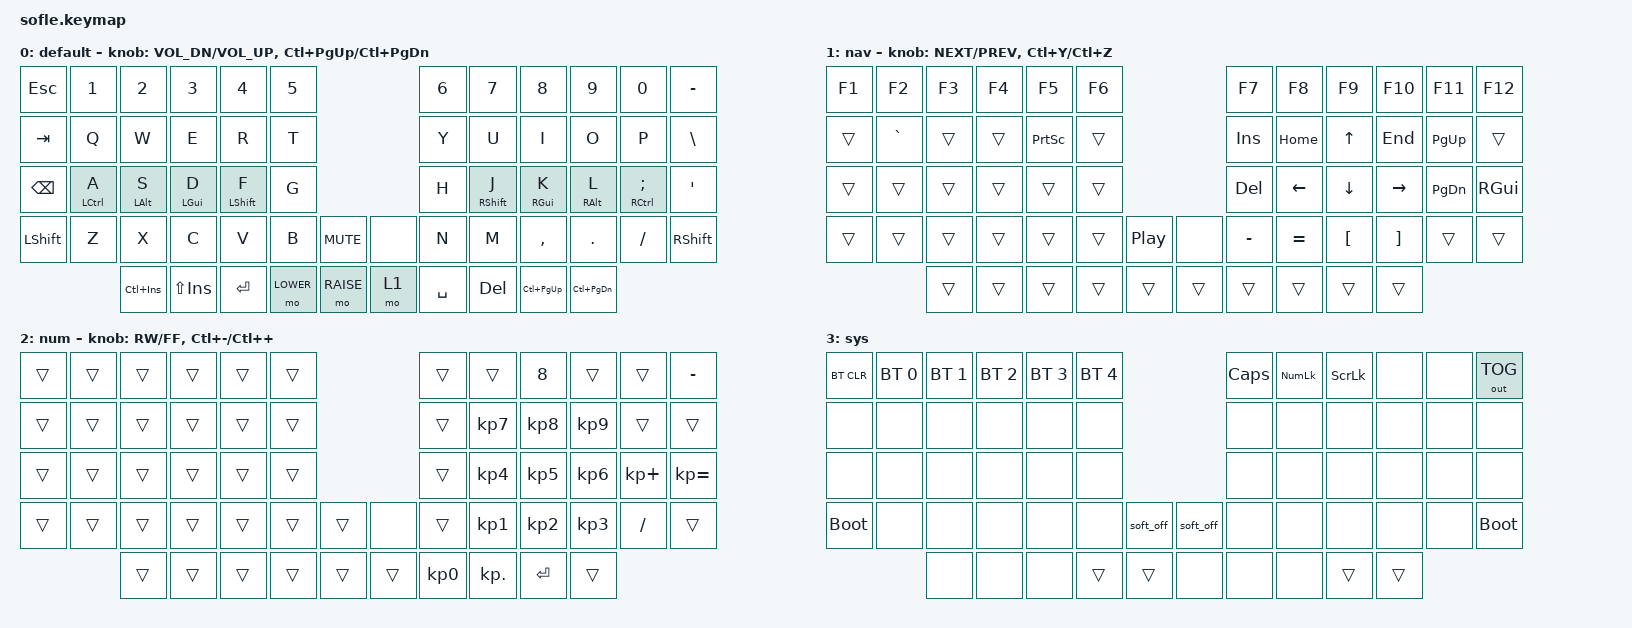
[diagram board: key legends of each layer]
/*
 * Copyright (c) 2020 The ZMK Contributors
 *
 * SPDX-License-Identifier: MIT
 */

#include <behaviors.dtsi>
#include <dt-bindings/zmk/bt.h>
#include <dt-bindings/zmk/keys.h>
#include <dt-bindings/zmk/outputs.h>

#define BASE 0
#define LOWER 1
#define RAISE 2
#define ADJUST 3

/ {
    behaviors {
        bmt: balanced_mod_tap {
            compatible = "zmk,behavior-hold-tap";
            label = "BALANCED_MOD_TAP";
            #binding-cells = <2>;
            flavor = "balanced";
            tapping-term-ms = <200>;
            quick-tap-ms = <200>;
            require-prior-idle-ms = <125>;
            bindings = <&kp>, <&kp>;
        };
    };

    // Activate ADJUST layer by pressing raise and lower

    conditional_layers {
        compatible = "zmk,conditional-layers";

        adjust_layer {
            if-layers = <LOWER RAISE>;
            then-layer = <ADJUST>;
        };
    };

    keymap {
        compatible = "zmk,keymap";

        default_layer {
            display-name = "default";

            // ------------------------------------------------------------------------------------------------------------
            // |  ESC  |  1  |  2  |  3   |  4   |  5   |                   |  6   |  7    |  8    |  9   |   0   |   -   |
            // |  TAB  |  Q  |  W  |  E   |  R   |  T   |                   |  Y   |  U    |  I    |  O   |   P   |   \   |
            // | BKSPC |  A  |  S  |  D   |  F   |  G   |                   |  H   |  J    |  K    |  L   |   ;   |   '   |
            // | SHIFT |  Z  |  X  |  C   |  V   |  B   |  MUTE  |  | LC(T) |  N   |  M    |  ,    |  .   |   /   | SHIFT |
            //               | GUI | ALT  | CTRL | LOWER|  RAISE |  | DEL   | SPACE| RET   | ALT   | GUI  |

            bindings = <
&kp ESC    &kp N1        &kp N2       &kp N3       &kp N4        &kp N5                          &kp N6     &kp N7        &kp N8         &kp N9         &kp N0           &kp MINUS
&kp TAB    &kp Q         &kp W        &kp E        &kp R         &kp T                           &kp Y      &kp U         &kp I          &kp O          &kp P            &kp BSLH
&kp BSPC   &bmt LCTRL A  &bmt LALT S  &bmt LGUI D  &bmt LSHFT F  &kp G                           &kp H      &bmt RSHFT J  &bmt RGUI K    &bmt RALT L    &bmt RCTRL SEMI  &kp SQT
&kp LSHFT  &kp Z         &kp X        &kp C        &kp V         &kp B      &kp C_MUTE    &none  &kp N      &kp M         &kp COMMA      &kp DOT        &kp FSLH         &kp RSHFT
                         &kp LC(INS)  &kp LS(INS)  &kp ENTER     &mo LOWER  &mo RAISE     &mo 1  &kp SPACE  &kp DEL       &kp LC(PG_UP)  &kp LC(PG_DN)
            >;

            sensor-bindings = <&inc_dec_kp C_VOL_DN C_VOL_UP &inc_dec_kp LC(PG_UP) LC(PG_DN) >;
        };

        lower_layer {
            display-name = "nav";

            // TODO: Some binds are waiting for shifted keycode support.
            // ------------------------------------------------------------------------------------------------------------
            // |  F1 |  F2 |  F3  |  F4  |  F5   |  F6  |                   |  F7   |  F8   |  F9  |  F10  |  F11  |  F12  |
            // |     |  `  |      |      | PSCRN |      |                   |  INS  |  HOME |  ^   |  END  |  PGUP |       |
            // |     |     |      |      |       |      |                   |  DEL  |   <-  |  v   | ->    |  PGDN |  RGUI |
            // |     |     |      |      |       |      |  play  |  |       |       |   =   |  [   |  ]    |       |       |
            //             |      |      |       |      |        |  |       |       |       |      |       |

            bindings = <
&kp F1  &kp F2     &kp F3  &kp F4  &kp F5     &kp F6                              &kp F7     &kp F8     &kp F9    &kp F10    &kp F11    &kp F12
&trans  &kp GRAVE  &trans  &trans  &kp PSCRN  &trans                              &kp INS    &kp HOME   &kp UP    &kp END    &kp PG_UP  &trans
&trans  &trans     &trans  &trans  &trans     &trans                              &kp DEL    &kp LEFT   &kp DOWN  &kp RIGHT  &kp PG_DN  &kp RGUI
&trans  &trans     &trans  &trans  &trans     &trans  &kp C_PLAY_PAUSE    &none   &kp MINUS  &kp EQUAL  &kp LBKT  &kp RBKT   &trans     &trans
                   &trans  &trans  &trans     &trans  &trans              &trans  &trans     &trans     &trans    &trans
            >;

            sensor-bindings = <&inc_dec_kp C_NEXT C_PREV &inc_dec_kp LC(Y) LC(Z)>;
        };

        raise_layer {
            display-name = "num";

            // ------------------------------------------------------------------------------------------------------------
            // |       |      |      |       |       |      |                |      |      |  8/*  |      |       |   -   |
            // |       |      |      |       |       |      |                |      |  7   |   8   |  9   |       |       |
            // |       |      |      |       |       |      |                |      |  4   |   5   |  6   |   +   |   =   |
            // |       |      |      |       |       |      |      |  |      |      |  1   |   2   |  3   |   /   |       |
            // |       |      |      |       |       |      |      |  |      |  0   |  .   |       |      |

            bindings = <
&trans  &trans  &trans  &trans  &trans  &trans                    &trans     &trans      &kp N8     &trans     &trans       &kp MINUS
&trans  &trans  &trans  &trans  &trans  &trans                    &trans     &kp KP_N7   &kp KP_N8  &kp KP_N9  &trans       &trans
&trans  &trans  &trans  &trans  &trans  &trans                    &trans     &kp KP_N4   &kp KP_N5  &kp KP_N6  &kp KP_PLUS  &kp KP_EQUAL
&trans  &trans  &trans  &trans  &trans  &trans  &trans    &none   &trans     &kp KP_N1   &kp KP_N2  &kp KP_N3  &kp FSLH     &trans
                &trans  &trans  &trans  &trans  &trans    &trans  &kp KP_N0  &kp KP_DOT  &kp RET    &trans
            >;

            sensor-bindings = <&inc_dec_kp C_RW C_FF &inc_dec_kp LC(MINUS) LC(PLUS)>;
        };

        adjust_layer {
            // ----------------------------------------------------------------------------------------------------------------------------
            // | BTCLR  |  BT1    |  BT2    |   BT3   |   BT4   |   BT5   |                  | CAPS | NUMS | SCLK  |      |       |       |
            // | EXTPWR | RGB_HUD | RGB_HUI | RGB_SAD | RGB_SAI | RGB_EFF |                  |      |      |       |      |       |       |
            // |        | RGB_BRD | RGB_BRI |         |         |         |                  |      |      |       |      |       |       |
            // |        |         |         |         |         |         | RGB_TOG | |      |      |      |       |      |       |       |
            //                    |         |         |         |         |         | |      |      |      |       |      |

            display-name = "sys";
            bindings = <
&bt BT_CLR   &bt BT_SEL 0  &bt BT_SEL 1  &bt BT_SEL 2  &bt BT_SEL 3  &bt BT_SEL 4                          &kp CLCK  &kp KP_NLCK  &kp SLCK  &none   &none  &out OUT_TOG
&none        &none         &none         &none         &none         &none                                 &none     &none        &none     &none   &none  &none
&none        &none         &none         &none         &none         &none                                 &none     &none        &none     &none   &none  &none
&bootloader  &none         &none         &none         &none         &none         &soft_off    &soft_off  &none     &none        &none     &none   &none  &bootloader
                           &none         &none         &none         &trans        &trans       &none      &none     &none        &trans    &trans
            >;
        };
    };
};
